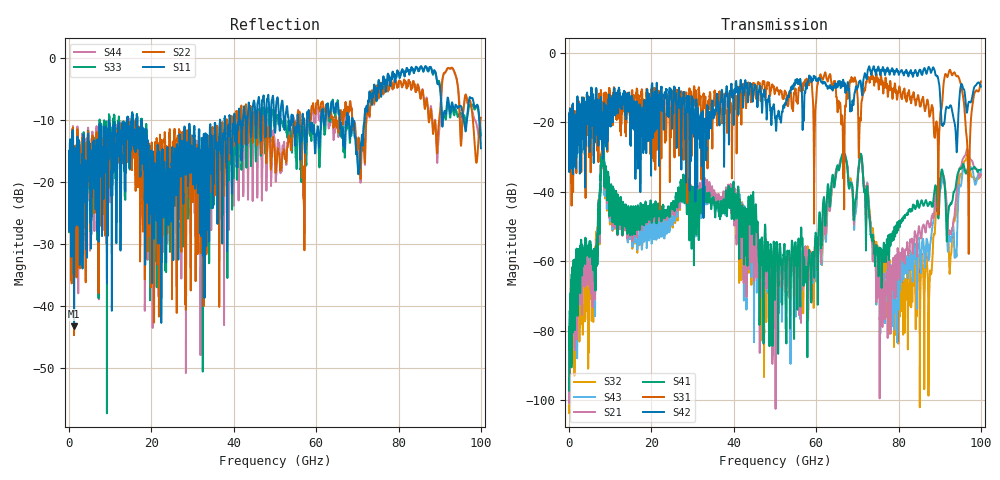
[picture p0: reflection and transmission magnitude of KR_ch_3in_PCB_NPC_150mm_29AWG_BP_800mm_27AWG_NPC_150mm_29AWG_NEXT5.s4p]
# GHz S RI R 45
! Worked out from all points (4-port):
!   4000 points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, 25 MHz to 100 GHz, reference 45 ohm
!   strongest paths, dB at 25 MHz, 25.02 GHz, 50.02 GHz, 75.03 GHz, 100 GHz:
!     S42: -22.2, -20.8, -18.7, -4.1, -9.8
!     S31: -22.2, -12.0, -11.5, -7.8, -8.3
!     S41: -93.8, -44.1, -69.3, -59.3, -33.6
!     S21: -97.5, -45.1, -62.2, -62.0, -35.0
!     S43: -96.3, -48.4, -65.5, -61.8, -34.1
!     S32: -101.7, -48.4, -69.9, -58.0, -35.3
!   lowest |S11| = -43.2 dB at 1.225 GHz (marker M1), VSWR 1.01, Z = 44.9 - j0.618 ohm
!   |S11| at or under -10 dB: start of sweep to 14.14 GHz; 16.58 GHz to 36.66 GHz (20.08 GHz wide, 75.4 % of centre); 68.84 GHz to 71.74 GHz (2.898 GHz wide, 4.12 % of centre) (the widest 3 of 39)
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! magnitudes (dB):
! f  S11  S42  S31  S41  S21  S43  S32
! 25 MHz  -17.4  -22.2  -22.2  -93.8  -97.5  -96.3  -101.7
! 1.225 GHz  -43.2  -25.9  -25.3  -66.4  -71.8  -70.5  -83.0
! 8.125 GHz  -15.2  -21.3  -26.6  -28.4  -29.0  -28.2  -28.9
! 49.8 GHz  -9.1  -15.6  -10.6  -55.3  -56.5  -70.6  -61.6
! 70.8 GHz  -14.4  -8.3  -19.5  -29.1  -29.9  -29.0  -29.6
! 75.85 GHz  -5.5  -4.9  -7.4  -62.2  -61.7  -60.4  -60.0
! 100 GHz  -14.6  -9.8  -8.3  -33.6  -35.0  -34.1  -35.3
